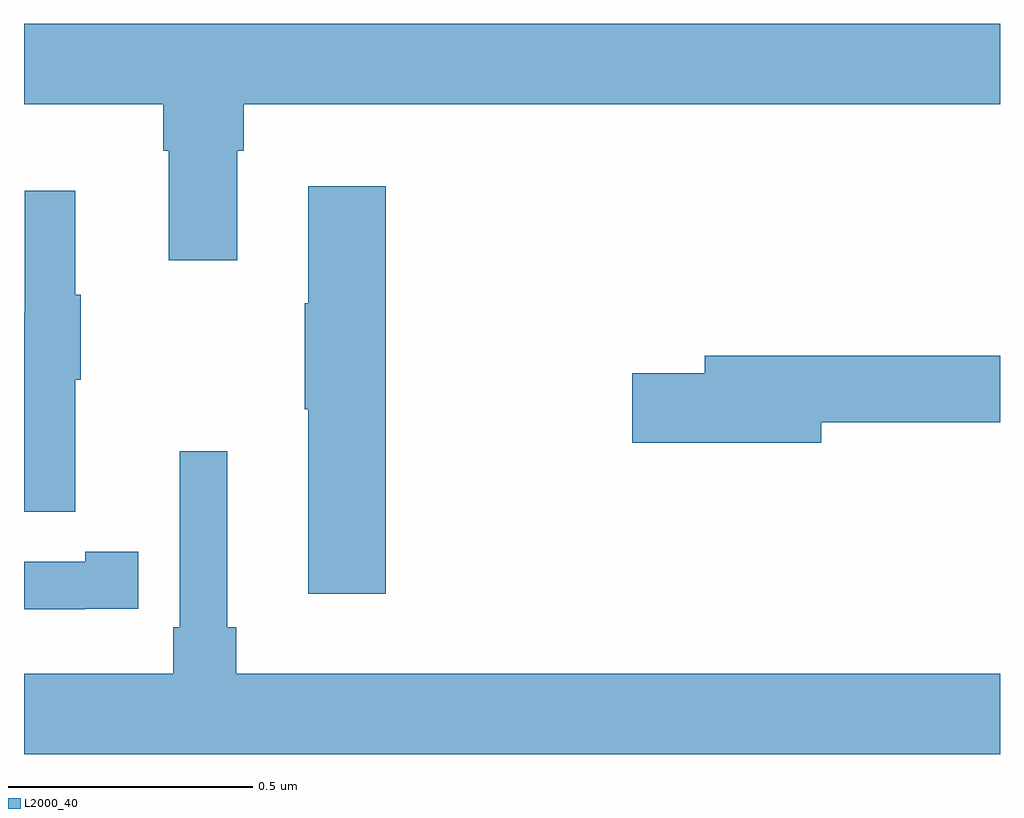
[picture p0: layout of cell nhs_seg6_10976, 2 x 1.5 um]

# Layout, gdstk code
import gdstk
lib = gdstk.Library(unit=1e-6, precision=1e-09)
def P(c, l, *ps):  # polygons
    for p in ps: c.add(gdstk.Polygon(p, *l))
L2000_40 = (2000, 40)

nhs_seg6_10976 = lib.new_cell('nhs_seg6_10976')
P(nhs_seg6_10976, L2000_40, [(254.437,925.928),(254.45,925.928),(254.45,926.024),(256,926.024),(256,926.188),(254,926.188),(254,926.024),(254.285,926.024),(254.285,925.928),(254.297,925.928),(254.297,925.704),(254.437,925.704)],
  [(254.741,925.855),(254.582,925.855),(254.582,925.616),(254.575,925.616),(254.575,925.399),(254.582,925.399),(254.582,925.02),(254.741,925.02)],
  [(254.105,925.459),(254.116,925.459),(254.116,925.633),(254.105,925.633),(254.105,925.846),(254.002,925.846),(254.002,925.596),(254,925.596),(254,925.188),(254.105,925.188)],
  [(255.634,925.372),(256,925.372),(256,925.508),(255.395,925.508),(255.395,925.472),(255.246,925.472),(255.246,925.33),(255.634,925.33)],
  [(256,924.856),(254.435,924.856),(254.435,924.952),(254.416,924.952),(254.416,925.312),(254.319,925.312),(254.319,924.952),(254.306,924.952),(254.306,924.856),(254,924.856),(254,924.692),(256,924.692)],
  [(254.126,924.99),(254.234,924.99),(254.234,925.106),(254.126,925.106),(254.126,925.086),(254,925.086),(254,924.989),(254.126,924.989)])

lib.write_gds('nhs_seg6_10976.gds')
